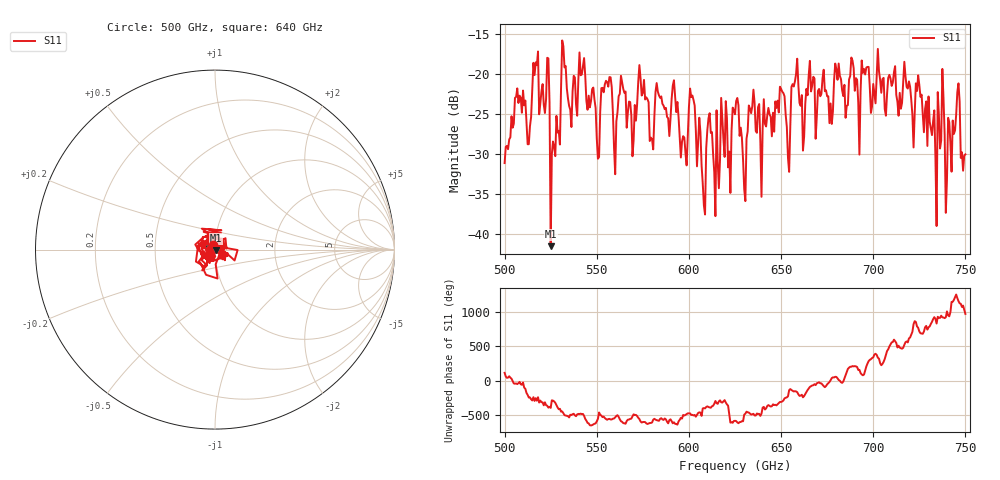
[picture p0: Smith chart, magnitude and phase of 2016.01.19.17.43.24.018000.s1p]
!Created with skrf (http://scikit-rf.org).
# GHz S RI R 50.0
!freq ReS11 ImS11
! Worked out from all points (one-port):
!   401 points, 500 GHz to 750 GHz, reference 50 ohm
!   lowest |S11| = -41.6 dB at 525 GHz (marker M1), VSWR 1.02, Z = 50.7 - j0.455 ohm
!   |S11| at or under -10 dB: start of sweep to end of sweep
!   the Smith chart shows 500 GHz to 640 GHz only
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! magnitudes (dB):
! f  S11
! 500 GHz  -31.2
! 506.9 GHz  -21.8
! 513.1 GHz  -28.8
! 516.9 GHz  -18.6
! 525 GHz  -41.6
! 526.2 GHz  -28.5
! 531.2 GHz  -15.8
! 541.9 GHz  -20.1
! 550.6 GHz  -30.6
! 562.5 GHz  -22.5
! 593.8 GHz  -23.5
! 597.5 GHz  -28.0
! 601.9 GHz  -22.7
! 608.1 GHz  -36.5
! 611.2 GHz  -24.9
! 615 GHz  -24.6
! 625 GHz  -25.1
! 630 GHz  -34.4
! 633.8 GHz  -24.9
! 640 GHz  -26.8
! 650.6 GHz  -22.2
! 653.8 GHz  -30.5
! 656.2 GHz  -21.3
! 687.5 GHz  -20.3
! 718.8 GHz  -21.8
! 733.1 GHz  -24.6
! 745.6 GHz  -22.3
! 750 GHz  -30.1
